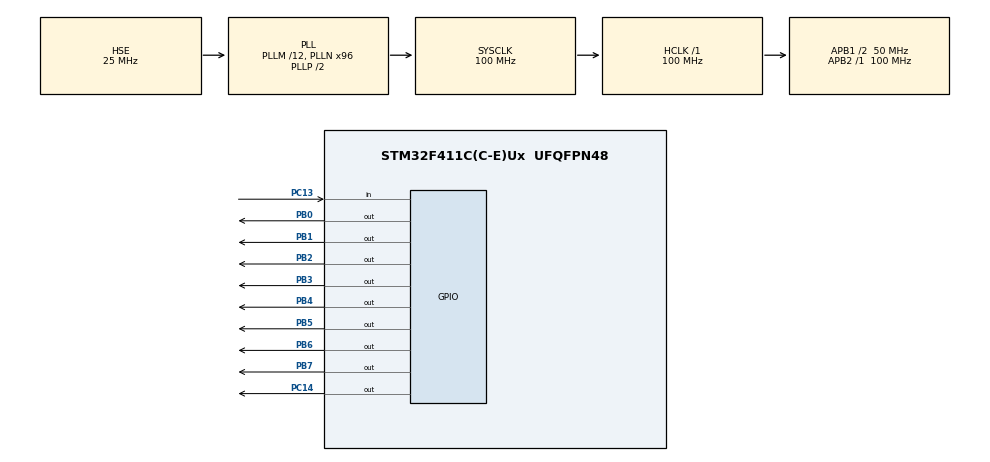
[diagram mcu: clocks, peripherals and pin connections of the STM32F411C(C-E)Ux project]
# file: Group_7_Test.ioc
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Mcu.Family=STM32F4
Mcu.Name=STM32F411C(C-E)Ux
Mcu.Package=UFQFPN48
NVIC.PriorityGroup=NVIC_PRIORITYGROUP_4
NVIC.TIM2_IRQn=true\:0\:0\:false\:false\:true\:true\:true\:true
PA13.Mode=Serial_Wire
PA13.Signal=SYS_JTMS-SWDIO
PA14.Mode=Serial_Wire
PA14.Signal=SYS_JTCK-SWCLK
PB0.Signal=GPIO_Output
PB1.Signal=GPIO_Output
PB2.Signal=GPIO_Output
PB3.Signal=GPIO_Output
PB4.Signal=GPIO_Output
PB5.Signal=GPIO_Output
PB6.Signal=GPIO_Output
PB7.Signal=GPIO_Output
PC13-ANTI_TAMP.Signal=GPIO_Input
PC14-OSC32_IN.Signal=GPIO_Output
PH0\ -\ OSC_IN.Mode=HSE-External-Oscillator
PH0\ -\ OSC_IN.Signal=RCC_OSC_IN
PH1\ -\ OSC_OUT.Mode=HSE-External-Oscillator
PH1\ -\ OSC_OUT.Signal=RCC_OSC_OUT
ProjectManager.HeapSize=0x200
ProjectManager.StackSize=0x400
ProjectManager.TargetToolchain=MDK-ARM V5.32
RCC.48MHZClocksFreq_Value=50000000
RCC.AHBFreq_Value=100000000
RCC.APB1CLKDivider=RCC_HCLK_DIV2
RCC.APB1Freq_Value=50000000
RCC.APB1TimFreq_Value=100000000
RCC.APB2Freq_Value=100000000
RCC.APB2TimFreq_Value=100000000
RCC.CortexFreq_Value=100000000
RCC.HCLKFreq_Value=100000000
RCC.HSE_VALUE=25000000
RCC.HSI_VALUE=16000000
RCC.LSE_VALUE=32768
RCC.PLLM=12
RCC.PLLN=96
RCC.PLLSourceVirtual=RCC_PLLSOURCE_HSE
RCC.SYSCLKFreq_VALUE=100000000
RCC.SYSCLKSource=RCC_SYSCLKSOURCE_PLLCLK
RCC.VCOOutputFreq_Value=200000000
TIM2.Period=9999
TIM2.Prescaler=9999
VP_TIM2_VS_ClockSourceINT.Mode=Internal
board=custom

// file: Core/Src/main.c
/* USER CODE BEGIN Header */
/**
  ******************************************************************************
  * @file           : main.c
  * @brief          : Main program body
  ******************************************************************************
  * @attention
  *
  * Copyright (c) 2026 STMicroelectronics.
  * All rights reserved.
  *
  * This software is licensed under terms that can be found in the LICENSE file
  * in the root directory of this software component.
  * If no LICENSE file comes with this software, it is provided AS-IS.
  *
  ******************************************************************************
  */
/* USER CODE END Header */
#include "main.h"

TIM_HandleTypeDef htim2;

/* USER CODE BEGIN PV */
int KP_value = 0; // Stores the scanned key value
int KP_check = 0; // Stores the keypad interrupt status (PC13)
char seg_code[] = {0x3F, 0x06, 0x5B, 0x4F, 0x66, 0x6D, 0x7D, 0x07, 0x7F, 0x6F}; // 0-9 codes
uint32_t count = 0;
/* USER CODE END PV */

void SystemClock_Config(void);
static void MX_GPIO_Init(void);
static void MX_TIM2_Init(void);

/* USER CODE BEGIN 0 */
void HAL_TIM_PeriodElapsedCallback(TIM_HandleTypeDef *htim) {
  GPIOC->MODER |= 0x04000000;
  GPIOC->ODR |= 0x0400;
  GPIOC->MODER |= 0x0C000000;
}
/* USER CODE END 0 */

int main(void)
{

  /* MCU Configuration--------------------------------------------------------*/

  /* Reset of all peripherals, Initializes the Flash interface and the Systick. */
  HAL_Init();

  /* Configure the system clock */
  SystemClock_Config();

  /* Initialize all configured peripherals */
  MX_GPIO_Init();
  MX_TIM2_Init();

  /* Infinite loop */
  while (1)
  {

    /* USER CODE BEGIN 3 */
		// Read if Keypad is pressed (Check PC13 status)
		KP_check = GPIOC->IDR;
		// If statement to check Keypad press (Check if PC13 is high)
		if((KP_check & 0x2000))
			{
				// Read Keypad Value: Set PB0-PB7 to Input mode
				GPIOB->MODER &= ~0x0000FFFF;
				// Enable Keypad Buffer (Pull PC14 Low)
				GPIOC->ODR &= ~0x4000;
				HAL_Delay(100);
				KP_value = GPIOB->IDR; // Read the value from the data lines
				// Disable Keypad Buffer (Pull PC14 High)
				GPIOC->ODR |= 0x4000;
				HAL_Delay(100);
				GPIOB->MODER |= 0x00005555; // Set PB0-PB7 back to Output mode
				// ... (Switch case logic for KP_value follows this block)
				// Switch Case Function fdor Switch
				switch(KP_value & 0x007F){
					case 0x007F: // Example Case: Logic for LED shifting
            // ... Code to shift LEDs using GPIOA->ODR (PA15) and GPIOB->ODR (PB0-PB7) ... Set Seven Segment Value on PB0-PB7
            for(count=0; count<10; count++)
            {
              // Set Seven Segment Value on PB0-PB7
              GPIOB->ODR = (GPIOB->ODR & 0xFF00) + seg_code[count];
              // Enable Seven Segment Flip-flop (Latch the value)
              GPIOB->ODR &= ~0xF000;
              HAL_Delay(1);
              GPIOB->ODR |= 0xF000;
              HAL_Delay(1);
              GPIOB->ODR &= ~0xF000;
              HAL_Delay(1000); // Display digit for 1 second
            }
					break;
					case 0x007E: // Example Case: Logic for 7-segment counting
						// ... Code to display 0-9 using seg_code[] and GPIOB->ODR (PB0-PB7, PB12-PB15) ...
					break;
					default: // Default Behavior (e.g., specific LED pattern)
						// ... Code for default behavior using GPIOA and GPIOB ...
					break;
				}
			}
	}
  /* USER CODE END 3 */
}

void SystemClock_Config(void)
{
  RCC_OscInitTypeDef RCC_OscInitStruct = {0};
  RCC_ClkInitTypeDef RCC_ClkInitStruct = {0};

  /** Configure the main internal regulator output voltage
  */
  __HAL_RCC_PWR_CLK_ENABLE();
  __HAL_PWR_VOLTAGESCALING_CONFIG(PWR_REGULATOR_VOLTAGE_SCALE1);

  /** Initializes the RCC Oscillators according to the specified parameters
  * in the RCC_OscInitTypeDef structure.
  */
  RCC_OscInitStruct.OscillatorType = RCC_OSCILLATORTYPE_HSE;
  RCC_OscInitStruct.HSEState = RCC_HSE_ON;
  RCC_OscInitStruct.PLL.PLLState = RCC_PLL_ON;
  RCC_OscInitStruct.PLL.PLLSource = RCC_PLLSOURCE_HSE;
  RCC_OscInitStruct.PLL.PLLM = 12;
  RCC_OscInitStruct.PLL.PLLN = 96;
  RCC_OscInitStruct.PLL.PLLP = RCC_PLLP_DIV2;
  RCC_OscInitStruct.PLL.PLLQ = 4;
  if (HAL_RCC_OscConfig(&RCC_OscInitStruct) != HAL_OK)
  {
    Error_Handler();
  }

  /** Initializes the CPU, AHB and APB buses clocks
  */
  RCC_ClkInitStruct.ClockType = RCC_CLOCKTYPE_HCLK|RCC_CLOCKTYPE_SYSCLK
                              |RCC_CLOCKTYPE_PCLK1|RCC_CLOCKTYPE_PCLK2;
  RCC_ClkInitStruct.SYSCLKSource = RCC_SYSCLKSOURCE_PLLCLK;
  RCC_ClkInitStruct.AHBCLKDivider = RCC_SYSCLK_DIV1;
  RCC_ClkInitStruct.APB1CLKDivider = RCC_HCLK_DIV2;
  RCC_ClkInitStruct.APB2CLKDivider = RCC_HCLK_DIV1;

  if (HAL_RCC_ClockConfig(&RCC_ClkInitStruct, FLASH_LATENCY_3) != HAL_OK)
  {
    Error_Handler();
  }
}

static void MX_TIM2_Init(void)
{

  TIM_ClockConfigTypeDef sClockSourceConfig = {0};
  TIM_MasterConfigTypeDef sMasterConfig = {0};

  htim2.Instance = TIM2;
  htim2.Init.Prescaler = 9999;
  htim2.Init.CounterMode = TIM_COUNTERMODE_UP;
  htim2.Init.Period = 9999;
  htim2.Init.ClockDivision = TIM_CLOCKDIVISION_DIV1;
  htim2.Init.AutoReloadPreload = TIM_AUTORELOAD_PRELOAD_DISABLE;
  if (HAL_TIM_Base_Init(&htim2) != HAL_OK)
  {
    Error_Handler();
  }
  sClockSourceConfig.ClockSource = TIM_CLOCKSOURCE_INTERNAL;
  if (HAL_TIM_ConfigClockSource(&htim2, &sClockSourceConfig) != HAL_OK)
  {
    Error_Handler();
  }
  sMasterConfig.MasterOutputTrigger = TIM_TRGO_RESET;
  sMasterConfig.MasterSlaveMode = TIM_MASTERSLAVEMODE_DISABLE;
  if (HAL_TIMEx_MasterConfigSynchronization(&htim2, &sMasterConfig) != HAL_OK)
  {
    Error_Handler();
  }

}

static void MX_GPIO_Init(void)
{
  GPIO_InitTypeDef GPIO_InitStruct = {0};

  /* GPIO Ports Clock Enable */
  __HAL_RCC_GPIOC_CLK_ENABLE();
  __HAL_RCC_GPIOH_CLK_ENABLE();
  __HAL_RCC_GPIOB_CLK_ENABLE();
  __HAL_RCC_GPIOA_CLK_ENABLE();

  /*Configure GPIO pin Output Level */
  HAL_GPIO_WritePin(GPIOC, GPIO_PIN_14, GPIO_PIN_RESET);

  /*Configure GPIO pin Output Level */
  HAL_GPIO_WritePin(GPIOB, GPIO_PIN_0|GPIO_PIN_1|GPIO_PIN_2|GPIO_PIN_3
                          |GPIO_PIN_4|GPIO_PIN_5|GPIO_PIN_6|GPIO_PIN_7, GPIO_PIN_RESET);

  /*Configure GPIO pin : PC13 */
  GPIO_InitStruct.Pin = GPIO_PIN_13;
  GPIO_InitStruct.Mode = GPIO_MODE_INPUT;
  GPIO_InitStruct.Pull = GPIO_NOPULL;
  HAL_GPIO_Init(GPIOC, &GPIO_InitStruct);

  /*Configure GPIO pin : PC14 */
  GPIO_InitStruct.Pin = GPIO_PIN_14;
  GPIO_InitStruct.Mode = GPIO_MODE_OUTPUT_PP;
  GPIO_InitStruct.Pull = GPIO_NOPULL;
  GPIO_InitStruct.Speed = GPIO_SPEED_FREQ_LOW;
  HAL_GPIO_Init(GPIOC, &GPIO_InitStruct);

  /*Configure GPIO pins : PB0 PB1 PB2 PB3
                           PB4 PB5 PB6 PB7 */
  GPIO_InitStruct.Pin = GPIO_PIN_0|GPIO_PIN_1|GPIO_PIN_2|GPIO_PIN_3
                          |GPIO_PIN_4|GPIO_PIN_5|GPIO_PIN_6|GPIO_PIN_7;
  GPIO_InitStruct.Mode = GPIO_MODE_OUTPUT_PP;
  GPIO_InitStruct.Pull = GPIO_NOPULL;
  GPIO_InitStruct.Speed = GPIO_SPEED_FREQ_LOW;
  HAL_GPIO_Init(GPIOB, &GPIO_InitStruct);

}

void Error_Handler(void)
{
  __disable_irq();
  while (1)
  {
  }
}
